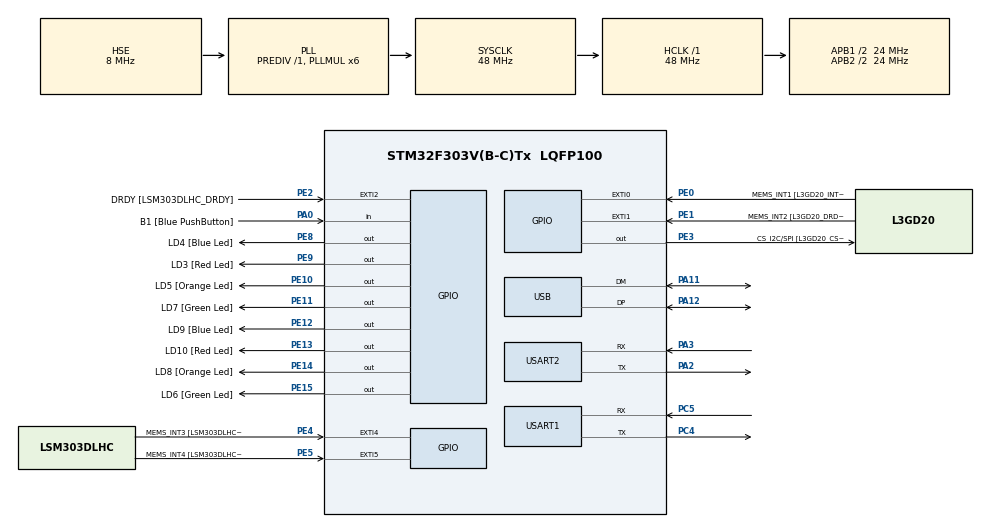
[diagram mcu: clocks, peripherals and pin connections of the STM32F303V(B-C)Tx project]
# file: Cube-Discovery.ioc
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Mcu.Family=STM32F3
Mcu.Name=STM32F303V(B-C)Tx
Mcu.Package=LQFP100
NVIC.PriorityGroup=NVIC_PRIORITYGROUP_0
NVIC.TIM2_IRQn=true\:0\:0\:false\:false\:true\:true\:true\:true
NVIC.USB_LP_CAN_RX0_IRQn=true\:0\:0\:false\:false\:true\:false\:true\:true
PA0.GPIO_Label=B1 [Blue PushButton]
PA0.GPIO_Mode=GPIO_MODE_INPUT
PA0.GPIO_PuPd=GPIO_NOPULL
PA0.Signal=GPIO_Input
PA11.Mode=Device
PA11.Signal=USB_DM
PA12.Mode=Device
PA12.Signal=USB_DP
PA13.GPIO_Label=SWDIO
PA13.Mode=Trace_Asynchronous_SW
PA13.Signal=SYS_JTMS-SWDIO
PA14.GPIO_Label=SWCLK
PA14.Mode=Trace_Asynchronous_SW
PA14.Signal=SYS_JTCK-SWCLK
PA2.Mode=Asynchronous
PA2.Signal=USART2_TX
PA3.Mode=Asynchronous
PA3.Signal=USART2_RX
PA5.GPIO_Label=SPI1_SCK [L3GD20_SCL/SPC]
PA5.GPIO_Mode=GPIO_MODE_AF_PP
PA5.GPIO_PuPd=GPIO_NOPULL
PA5.GPIO_Speed=GPIO_SPEED_FREQ_LOW
PA5.Signal=SPI1_SCK
PA6.GPIO_Label=SPI1_MISO [L3GD20_SA0/SDO]
PA6.GPIO_Mode=GPIO_MODE_AF_PP
PA6.GPIO_PuPd=GPIO_NOPULL
PA6.GPIO_Speed=GPIO_SPEED_FREQ_LOW
PA6.Signal=SPI1_MISO
PA7.GPIO_Label=SPI1_MISO [L3GD20_SDA/SDI/SDO]
PA7.GPIO_Mode=GPIO_MODE_AF_PP
PA7.GPIO_PuPd=GPIO_NOPULL
PA7.GPIO_Speed=GPIO_SPEED_FREQ_LOW
PA7.Signal=SPI1_MOSI
PB3.GPIO_Label=SWO
PB3.Mode=Trace_Asynchronous_SW
PB3.Signal=SYS_JTDO-TRACESWO
PB6.GPIO_FM6=__NULL
PB6.GPIO_Label=I2C1_SCL [LSM303DLHC_SCL]
PB6.GPIO_Mode=GPIO_MODE_AF_OD
PB6.GPIO_PuPd=GPIO_NOPULL
PB6.GPIO_Speed=GPIO_SPEED_FREQ_LOW
PB6.Signal=I2C1_SCL
PB7.GPIO_FM7=__NULL
PB7.GPIO_Label=I2C1_SDA [LSM303DLHC_SDA]
PB7.GPIO_Mode=GPIO_MODE_AF_OD
PB7.GPIO_PuPd=GPIO_NOPULL
PB7.GPIO_Speed=GPIO_SPEED_FREQ_LOW
PB7.Signal=I2C1_SDA
PC14-OSC32_IN.GPIO_Label=OSC32_IN
PC14-OSC32_IN.Signal=RCC_OSC32_IN
PC15-OSC32_OUT.GPIO_Label=OSC32_OUT
PC15-OSC32_OUT.Signal=RCC_OSC32_OUT
PC4.Mode=Asynchronous
PC4.Signal=USART1_TX
PC5.Mode=Asynchronous
PC5.Signal=USART1_RX
PE0.GPIO_Label=MEMS_INT1 [L3GD20_INT1]
PE0.GPIO_ModeDefaultEXTI=GPIO_MODE_EVT_RISING
PE0.GPIO_PuPd=GPIO_NOPULL
PE0.Signal=GPXTI0
PE1.GPIO_Label=MEMS_INT2 [L3GD20_DRDY/INT2]
PE1.GPIO_ModeDefaultEXTI=GPIO_MODE_EVT_RISING
PE1.GPIO_PuPd=GPIO_NOPULL
PE1.Signal=GPXTI1
PE10.GPIO_Label=LD5 [Orange Led]
PE10.GPIO_ModeDefaultOutputPP=GPIO_MODE_OUTPUT_PP
PE10.GPIO_PuPd=GPIO_NOPULL
PE10.GPIO_Speed=GPIO_SPEED_FREQ_LOW
PE10.Signal=GPIO_Output
PE11.GPIO_Label=LD7 [Green Led]
PE11.GPIO_ModeDefaultOutputPP=GPIO_MODE_OUTPUT_PP
PE11.GPIO_PuPd=GPIO_NOPULL
PE11.GPIO_Speed=GPIO_SPEED_FREQ_LOW
PE11.Signal=GPIO_Output
PE12.GPIO_Label=LD9 [Blue Led]
PE12.GPIO_ModeDefaultOutputPP=GPIO_MODE_OUTPUT_PP
PE12.GPIO_PuPd=GPIO_NOPULL
PE12.GPIO_Speed=GPIO_SPEED_FREQ_LOW
PE12.Signal=GPIO_Output
PE13.GPIO_Label=LD10 [Red Led]
PE13.GPIO_ModeDefaultOutputPP=GPIO_MODE_OUTPUT_PP
PE13.GPIO_PuPd=GPIO_NOPULL
PE13.GPIO_Speed=GPIO_SPEED_FREQ_LOW
PE13.Signal=GPIO_Output
PE14.GPIO_Label=LD8 [Orange Led]
PE14.GPIO_ModeDefaultOutputPP=GPIO_MODE_OUTPUT_PP
PE14.GPIO_PuPd=GPIO_NOPULL
PE14.GPIO_Speed=GPIO_SPEED_FREQ_LOW
PE14.Signal=GPIO_Output
PE15.GPIO_Label=LD6 [Green Led]
PE15.GPIO_ModeDefaultOutputPP=GPIO_MODE_OUTPUT_PP
PE15.GPIO_PuPd=GPIO_NOPULL
PE15.GPIO_Speed=GPIO_SPEED_FREQ_LOW
PE15.Signal=GPIO_Output
PE2.GPIO_Label=DRDY [LSM303DLHC_DRDY]
PE2.GPIO_ModeDefaultEXTI=GPIO_MODE_EVT_RISING
PE2.GPIO_PuPd=GPIO_NOPULL
PE2.Signal=GPXTI2
PE3.GPIO_Label=CS_I2C/SPI [L3GD20_CS_I2C/SPI]
PE3.GPIO_ModeDefaultOutputPP=GPIO_MODE_OUTPUT_PP
PE3.GPIO_PuPd=GPIO_NOPULL
PE3.GPIO_Speed=GPIO_SPEED_FREQ_LOW
PE3.Signal=GPIO_Output
PE4.GPIO_Label=MEMS_INT3 [LSM303DLHC_INT1]
PE4.GPIO_ModeDefaultEXTI=GPIO_MODE_EVT_RISING
PE4.GPIO_PuPd=GPIO_NOPULL
PE4.Signal=GPXTI4
PE5.GPIO_Label=MEMS_INT4 [LSM303DLHC_INT2]
PE5.GPIO_ModeDefaultEXTI=GPIO_MODE_EVT_RISING
PE5.GPIO_PuPd=GPIO_NOPULL
PE5.Signal=GPXTI5
PE8.GPIO_Label=LD4 [Blue Led]
PE8.GPIO_ModeDefaultOutputPP=GPIO_MODE_OUTPUT_PP
PE8.GPIO_PuPd=GPIO_NOPULL
PE8.GPIO_Speed=GPIO_SPEED_FREQ_LOW
PE8.Signal=GPIO_Output
PE9.GPIO_Label=LD3 [Red Led]
PE9.GPIO_ModeDefaultOutputPP=GPIO_MODE_OUTPUT_PP
PE9.GPIO_PuPd=GPIO_NOPULL
PE9.GPIO_Speed=GPIO_SPEED_FREQ_LOW
PE9.Signal=GPIO_Output
PF0-OSC_IN.Mode=HSE-External-Clock-Source
PF0-OSC_IN.Signal=RCC_OSC_IN
PF1-OSC_OUT.GPIO_Label=OSC_OUT
PF1-OSC_OUT.Signal=RCC_OSC_OUT
ProjectManager.HeapSize=0x200
ProjectManager.StackSize=0x400
ProjectManager.TargetToolchain=Makefile
RCC.AHBFreq_Value=48000000
RCC.APB1CLKDivider=RCC_HCLK_DIV2
RCC.APB1Freq_Value=24000000
RCC.APB1TimFreq_Value=48000000
RCC.APB2CLKDivider=RCC_HCLK_DIV2
RCC.APB2Freq_Value=24000000
RCC.APB2TimFreq_Value=48000000
RCC.CortexFreq_Value=48000000
RCC.HCLKFreq_Value=48000000
RCC.HSE_VALUE=8000000
RCC.HSI_VALUE=8000000
RCC.I2c1ClockSelection=RCC_I2C1CLKSOURCE_SYSCLK
RCC.I2c2ClockSelection=RCC_I2C2CLKSOURCE_SYSCLK
RCC.LSE_VALUE=32768
RCC.PLLMUL=RCC_PLL_MUL6
RCC.SYSCLKFreq_VALUE=48000000
RCC.SYSCLKSourceVirtual=RCC_SYSCLKSOURCE_PLLCLK
RCC.USBFreq_Value=48000000
TIM2.Period=1000
TIM2.Prescaler=16000
USART1.VirtualMode-Asynchronous=VM_ASYNC
USART2.VirtualMode-Asynchronous=VM_ASYNC
USB_DEVICE.CLASS_NAME_FS=CDC
USB_DEVICE.USBD_DEBUG_LEVEL=2
USB_DEVICE.USBD_SELF_POWERED=1
USB_DEVICE.VirtualMode=Cdc
USB_DEVICE.VirtualModeFS=Cdc_FS
VP_TIM2_VS_ClockSourceINT.Mode=Internal
VP_USB_DEVICE_VS_USB_DEVICE_CDC_FS.Mode=CDC_FS
board=STM32F3DISCOVERY

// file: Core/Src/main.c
/* USER CODE BEGIN Header */
/**
  ******************************************************************************
  * @file           : main.c
  * @brief          : Main program body
  ******************************************************************************
  * @attention
  *
  * Copyright (c) 2023 STMicroelectronics.
  * All rights reserved.
  *
  * This software is licensed under terms that can be found in the LICENSE file
  * in the root directory of this software component.
  * If no LICENSE file comes with this software, it is provided AS-IS.
  *
  ******************************************************************************
  */
/* USER CODE END Header */
#include "main.h"
#include "usb_device.h"

/* USER CODE BEGIN Includes */
#include "stdio.h"
#include "string.h"
#include "swo.h"
#include "SEGGER_RTT.h"

/* USER CODE END Includes */

TIM_HandleTypeDef htim2;

UART_HandleTypeDef huart1;
UART_HandleTypeDef huart2;

/* USER CODE BEGIN PV */
/* Buffer used for transmission and number of transmissions */
char aTxBuffer[1024];
int nbtime=1;
/* USER CODE END PV */

void SystemClock_Config(void);
static void MX_GPIO_Init(void);
static void MX_TIM2_Init(void);
static void MX_USART1_UART_Init(void);
static void MX_USART2_UART_Init(void);
/* USER CODE BEGIN PFP */
void HAL_TIM_PeriodElapsedCallback(TIM_HandleTypeDef *htim);
uint8_t ITM_SendChar_New(uint8_t ch, size_t const port);

/* USER CODE END PFP */

int main(void)
{

  /* USER CODE BEGIN 1 */
   SEGGER_RTT_ConfigUpBuffer(0, "DataOut", NULL, 0, SEGGER_RTT_MODE_BLOCK_IF_FIFO_FULL);

  /* USER CODE END 1 */

  /* MCU Configuration--------------------------------------------------------*/

  /* Reset of all peripherals, Initializes the Flash interface and the Systick. */
  HAL_Init();

  /* Configure the system clock */
  SystemClock_Config();

  /* Initialize all configured peripherals */
  MX_GPIO_Init();
  MX_TIM2_Init();
  MX_USART1_UART_Init();
  MX_USART2_UART_Init();
  MX_USB_DEVICE_Init();
  /* USER CODE BEGIN 2 */
  /* Start Timer event generation */
  HAL_TIM_Base_Start_IT(&htim2);

  /* USER CODE END 2 */

  /* Infinite loop */
  /* USER CODE BEGIN WHILE */
  while (1)
  {
    //HAL_TIM_PeriodElapsedCallback(&htim2); => no la llamamos, se ejecuta mediante interrupt
    //Se ejecuta HAL_TIM_PeriodElapsedCallback() mediante interrupt, al reset el TIM2: funciona

    //SEGGER SWO: funciona
    SWO_PrintString("Testing SWO_PrintString()\n");

    //Redirect printf to SWO with _write() and ITM_SendChar()
    //Funciona si activamos int _write(), leer el comentario de la función
    //printf("Hello World \n");

    HAL_Delay(2000);
    /* USER CODE END WHILE */

  }
}

void SystemClock_Config(void)
{
  RCC_OscInitTypeDef RCC_OscInitStruct = {0};
  RCC_ClkInitTypeDef RCC_ClkInitStruct = {0};
  RCC_PeriphCLKInitTypeDef PeriphClkInit = {0};

  /** Initializes the RCC Oscillators according to the specified parameters
  * in the RCC_OscInitTypeDef structure.
  */
  RCC_OscInitStruct.OscillatorType = RCC_OSCILLATORTYPE_HSE;
  RCC_OscInitStruct.HSEState = RCC_HSE_BYPASS;
  RCC_OscInitStruct.HSEPredivValue = RCC_HSE_PREDIV_DIV1;
  RCC_OscInitStruct.HSIState = RCC_HSI_ON;
  RCC_OscInitStruct.PLL.PLLState = RCC_PLL_ON;
  RCC_OscInitStruct.PLL.PLLSource = RCC_PLLSOURCE_HSE;
  RCC_OscInitStruct.PLL.PLLMUL = RCC_PLL_MUL6;
  if (HAL_RCC_OscConfig(&RCC_OscInitStruct) != HAL_OK)
  {
    Error_Handler();
  }

  /** Initializes the CPU, AHB and APB buses clocks
  */
  RCC_ClkInitStruct.ClockType = RCC_CLOCKTYPE_HCLK|RCC_CLOCKTYPE_SYSCLK
                              |RCC_CLOCKTYPE_PCLK1|RCC_CLOCKTYPE_PCLK2;
  RCC_ClkInitStruct.SYSCLKSource = RCC_SYSCLKSOURCE_PLLCLK;
  RCC_ClkInitStruct.AHBCLKDivider = RCC_SYSCLK_DIV1;
  RCC_ClkInitStruct.APB1CLKDivider = RCC_HCLK_DIV2;
  RCC_ClkInitStruct.APB2CLKDivider = RCC_HCLK_DIV2;

  if (HAL_RCC_ClockConfig(&RCC_ClkInitStruct, FLASH_LATENCY_1) != HAL_OK)
  {
    Error_Handler();
  }
  PeriphClkInit.PeriphClockSelection = RCC_PERIPHCLK_USB|RCC_PERIPHCLK_USART1
                              |RCC_PERIPHCLK_USART2;
  PeriphClkInit.Usart1ClockSelection = RCC_USART1CLKSOURCE_PCLK2;
  PeriphClkInit.Usart2ClockSelection = RCC_USART2CLKSOURCE_PCLK1;
  PeriphClkInit.USBClockSelection = RCC_USBCLKSOURCE_PLL;
  if (HAL_RCCEx_PeriphCLKConfig(&PeriphClkInit) != HAL_OK)
  {
    Error_Handler();
  }
}

static void MX_TIM2_Init(void)
{

  TIM_ClockConfigTypeDef sClockSourceConfig = {0};
  TIM_MasterConfigTypeDef sMasterConfig = {0};

  htim2.Instance = TIM2;
  htim2.Init.Prescaler = 16000;
  htim2.Init.CounterMode = TIM_COUNTERMODE_UP;
  htim2.Init.Period = 1000;
  htim2.Init.ClockDivision = TIM_CLOCKDIVISION_DIV1;
  htim2.Init.AutoReloadPreload = TIM_AUTORELOAD_PRELOAD_DISABLE;
  if (HAL_TIM_Base_Init(&htim2) != HAL_OK)
  {
    Error_Handler();
  }
  sClockSourceConfig.ClockSource = TIM_CLOCKSOURCE_INTERNAL;
  if (HAL_TIM_ConfigClockSource(&htim2, &sClockSourceConfig) != HAL_OK)
  {
    Error_Handler();
  }
  sMasterConfig.MasterOutputTrigger = TIM_TRGO_RESET;
  sMasterConfig.MasterSlaveMode = TIM_MASTERSLAVEMODE_DISABLE;
  if (HAL_TIMEx_MasterConfigSynchronization(&htim2, &sMasterConfig) != HAL_OK)
  {
    Error_Handler();
  }

}

static void MX_USART1_UART_Init(void)
{

  huart1.Instance = USART1;
  huart1.Init.BaudRate = 38400;
  huart1.Init.WordLength = UART_WORDLENGTH_8B;
  huart1.Init.StopBits = UART_STOPBITS_1;
  huart1.Init.Parity = UART_PARITY_NONE;
  huart1.Init.Mode = UART_MODE_TX_RX;
  huart1.Init.HwFlowCtl = UART_HWCONTROL_NONE;
  huart1.Init.OverSampling = UART_OVERSAMPLING_16;
  huart1.Init.OneBitSampling = UART_ONE_BIT_SAMPLE_DISABLE;
  huart1.AdvancedInit.AdvFeatureInit = UART_ADVFEATURE_NO_INIT;
  if (HAL_UART_Init(&huart1) != HAL_OK)
  {
    Error_Handler();
  }

}

static void MX_USART2_UART_Init(void)
{

  huart2.Instance = USART2;
  huart2.Init.BaudRate = 38400;
  huart2.Init.WordLength = UART_WORDLENGTH_8B;
  huart2.Init.StopBits = UART_STOPBITS_1;
  huart2.Init.Parity = UART_PARITY_NONE;
  huart2.Init.Mode = UART_MODE_TX_RX;
  huart2.Init.HwFlowCtl = UART_HWCONTROL_NONE;
  huart2.Init.OverSampling = UART_OVERSAMPLING_16;
  huart2.Init.OneBitSampling = UART_ONE_BIT_SAMPLE_DISABLE;
  huart2.AdvancedInit.AdvFeatureInit = UART_ADVFEATURE_NO_INIT;
  if (HAL_UART_Init(&huart2) != HAL_OK)
  {
    Error_Handler();
  }

}

static void MX_GPIO_Init(void)
{
  GPIO_InitTypeDef GPIO_InitStruct = {0};

  /* GPIO Ports Clock Enable */
  __HAL_RCC_GPIOE_CLK_ENABLE();
  __HAL_RCC_GPIOC_CLK_ENABLE();
  __HAL_RCC_GPIOF_CLK_ENABLE();
  __HAL_RCC_GPIOA_CLK_ENABLE();
  __HAL_RCC_GPIOB_CLK_ENABLE();

  /*Configure GPIO pin Output Level */
  HAL_GPIO_WritePin(GPIOE, CS_I2C_SPI_Pin|LD4_Pin|LD3_Pin|LD5_Pin
                          |LD7_Pin|LD9_Pin|LD10_Pin|LD8_Pin
                          |LD6_Pin, GPIO_PIN_RESET);

  /*Configure GPIO pins : DRDY_Pin MEMS_INT3_Pin MEMS_INT4_Pin MEMS_INT1_Pin
                           MEMS_INT2_Pin */
  GPIO_InitStruct.Pin = DRDY_Pin|MEMS_INT3_Pin|MEMS_INT4_Pin|MEMS_INT1_Pin
                          |MEMS_INT2_Pin;
  GPIO_InitStruct.Mode = GPIO_MODE_EVT_RISING;
  GPIO_InitStruct.Pull = GPIO_NOPULL;
  HAL_GPIO_Init(GPIOE, &GPIO_InitStruct);

  /*Configure GPIO pins : CS_I2C_SPI_Pin LD4_Pin LD3_Pin LD5_Pin
                           LD7_Pin LD9_Pin LD10_Pin LD8_Pin
                           LD6_Pin */
  GPIO_InitStruct.Pin = CS_I2C_SPI_Pin|LD4_Pin|LD3_Pin|LD5_Pin
                          |LD7_Pin|LD9_Pin|LD10_Pin|LD8_Pin
                          |LD6_Pin;
  GPIO_InitStruct.Mode = GPIO_MODE_OUTPUT_PP;
  GPIO_InitStruct.Pull = GPIO_NOPULL;
  GPIO_InitStruct.Speed = GPIO_SPEED_FREQ_LOW;
  HAL_GPIO_Init(GPIOE, &GPIO_InitStruct);

  /*Configure GPIO pin : B1_Pin */
  GPIO_InitStruct.Pin = B1_Pin;
  GPIO_InitStruct.Mode = GPIO_MODE_INPUT;
  GPIO_InitStruct.Pull = GPIO_NOPULL;
  HAL_GPIO_Init(B1_GPIO_Port, &GPIO_InitStruct);

  /*Configure GPIO pins : SPI1_SCK_Pin SPI1_MISO_Pin SPI1_MISOA7_Pin */
  GPIO_InitStruct.Pin = SPI1_SCK_Pin|SPI1_MISO_Pin|SPI1_MISOA7_Pin;
  GPIO_InitStruct.Mode = GPIO_MODE_AF_PP;
  GPIO_InitStruct.Pull = GPIO_NOPULL;
  GPIO_InitStruct.Speed = GPIO_SPEED_FREQ_LOW;
  GPIO_InitStruct.Alternate = GPIO_AF5_SPI1;
  HAL_GPIO_Init(GPIOA, &GPIO_InitStruct);

  /*Configure GPIO pins : I2C1_SCL_Pin I2C1_SDA_Pin */
  GPIO_InitStruct.Pin = I2C1_SCL_Pin|I2C1_SDA_Pin;
  GPIO_InitStruct.Mode = GPIO_MODE_AF_OD;
  GPIO_InitStruct.Pull = GPIO_NOPULL;
  GPIO_InitStruct.Speed = GPIO_SPEED_FREQ_LOW;
  GPIO_InitStruct.Alternate = GPIO_AF4_I2C1;
  HAL_GPIO_Init(GPIOB, &GPIO_InitStruct);

}

/* USER CODE BEGIN 4 */
//Es una f() de la biblioteca HAL, se ejecuta cuando se resetea el counter del TIM,
//mediante Interrupt => no hay que llamarla desde nuestro main{}
void HAL_TIM_PeriodElapsedCallback(TIM_HandleTypeDef *htim)
{
  sprintf(aTxBuffer,"STM32CubeMX rocks %d times \t", ++nbtime);
  HAL_UART_Transmit(&huart1,(uint8_t *) aTxBuffer, strlen(aTxBuffer), 5000);
  sprintf(aTxBuffer,"STM32CubeMX rocks huart2");
  HAL_UART_Transmit(&huart2,(uint8_t *) aTxBuffer, strlen(aTxBuffer), 5000);
}

//Implementación para printf through ITM-SWO
uint8_t ITM_SendChar_New(uint8_t ch, size_t const port)
{
  if (((ITM->TCR & ITM_TCR_ITMENA_Msk) != 0UL) &&      /* ITM enabled */
      ((ITM->TER & (port+1)          ) != 0UL)   )     /* ITM Port enabled */
  {
    while (ITM->PORT[port].u32 == 0UL)
    {
      __NOP();
    }
    ITM->PORT[port].u8 = (uint8_t)ch;
   }
  return (ch);
}

/* Desactivo esta f() pues da error al compilar ya que no se puede definir
 2 veces la misma función write() para SWO y RTT a la vez.
 Desactivada funciona la redireccion de Printf a RTT.
Para SWO podemos utilizar SWO_PrintString() en lugar de printf */
/* int _write(int le, char *ptr, int len)
{
  int DataIdx;
  for(DataIdx = 0; DataIdx < len; DataIdx++)
      {
      ITM_SendChar(*ptr++);
      }
  return len;
} */

/* USER CODE END 4 */

void Error_Handler(void)
{
  __disable_irq();
  while (1)
  {
  }
}
